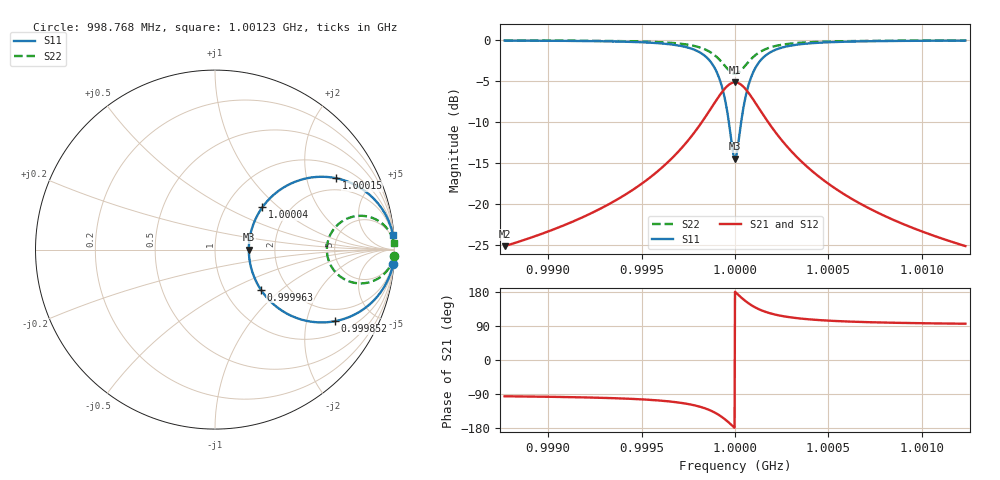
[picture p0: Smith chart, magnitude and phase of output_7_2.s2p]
! File generated for n1 = 7, n2 = 2
! b1 = 1.000000
! b2 = 0.464159
! Q0 = 10000.000000
! f0 = 1000000000.000000
! n = 1001
! rel_span = 10.000000
# Hz S RI R 50
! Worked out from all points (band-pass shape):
!   1001 points, 998.768 MHz to 1.00123 GHz, reference 50 ohm
!   highest |S21| = -5.15 dB at 1 GHz (marker M1); lowest = -25.2 dB at 998.768 MHz (marker M2)
!   |S21| within 3 dB of the highest: 999.8771 MHz to 1.000123 GHz (245.8 kHz wide, 0.0246 % of centre)
!   lowest |S11| = -14.5 dB at 1 GHz (marker M3), VSWR 1.46, Z = 73.2 + j0 ohm
!   |S11| at or under -10 dB: 999.967 MHz to 1.000033 GHz (66 kHz wide, 0.0066 % of centre)
!   |S22| runs from -4.1 to 0.0 dB; largest |S21 - S12| = 0
!   S11 on the Smith chart (normalised r, x): 998.768 MHz: 1, -25; 999.852 MHz: 1.46, -2.96; 999.963 MHz: 1.46, -0.74; 1.00004 GHz: 1.46, +0.79; 1.00015 GHz: 1.46, +3.01; 1.00123 GHz: 1, +25
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9.987679e8  0.992 -0.0803  -0.00547 -0.0547  -0.00547 -0.0547  0.9963 -0.0373
9.991794e8  0.9821 -0.1191  -0.0122 -0.0812  -0.0122 -0.0812  0.9917 -0.0553
9.994061e8  0.9665 -0.1614  -0.0228 -0.11  -0.0228 -0.11  0.9845 -0.0749
9.995909e8  0.9325 -0.2241  -0.046 -0.1527  -0.046 -0.1527  0.9687 -0.104
9.997487e8  0.8428 -0.3208  -0.1071 -0.2185  -0.1071 -0.2185  0.927 -0.1489
9.998053e8  0.7679 -0.3668  -0.1581 -0.2499  -0.1581 -0.2499  0.8923 -0.1702
9.998522e8  0.6674 -0.3992  -0.2266 -0.2719  -0.2266 -0.2719  0.8456 -0.1853
9.999162e8  0.445 -0.3774  -0.3781 -0.2571  -0.3781 -0.2571  0.7424 -0.1752
9.999409e8  0.3404 -0.3166  -0.4494 -0.2157  -0.4494 -0.2157  0.6938 -0.147
9.99963e8  0.2554 -0.2234  -0.5073 -0.1522  -0.5073 -0.1522  0.6544 -0.1037
9.999877e8  0.1964 -0.0804  -0.5475 -0.0547  -0.5475 -0.0547  0.627 -0.0373
1e9  0.1884 0  -0.553 0  -0.553 0  0.6233 0
1.000012e9  0.1964 0.0804  -0.5475 0.0547  -0.5475 0.0547  0.627 0.0373
1.000039e9  0.2638 0.2356  -0.5016 0.1605  -0.5016 0.1605  0.6583 0.1094
1.000062e9  0.3507 0.3246  -0.4424 0.2212  -0.4424 0.2212  0.6986 0.1507
1.000086e9  0.4553 0.3813  -0.3711 0.2598  -0.3711 0.2598  0.7472 0.177
1.00015e9  0.6738 0.3979  -0.2222 0.2711  -0.2222 0.2711  0.8486 0.1847
1.000254e9  0.8452 0.3189  -0.1055 0.2173  -0.1055 0.2173  0.9281 0.148
1.000412e9  0.9332 0.2231  -0.0455 0.152  -0.0455 0.152  0.969 0.1035
1.000596e9  0.9668 0.1609  -0.0227 0.1096  -0.0227 0.1096  0.9846 0.0747
1.000823e9  0.9822 0.1189  -0.0121 0.081  -0.0121 0.081  0.9917 0.0552
1.001232e9  0.992 0.0804  -0.00548 0.0548  -0.00548 0.0548  0.9963 0.0373
